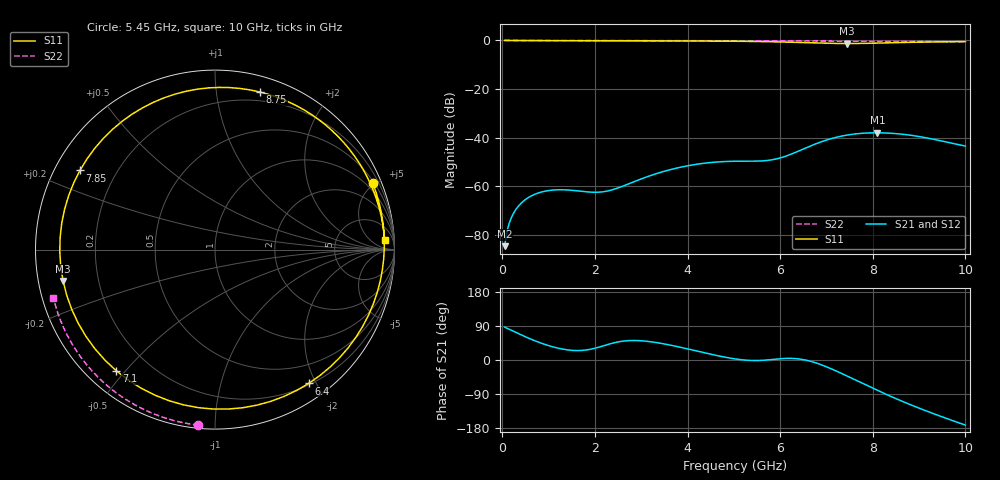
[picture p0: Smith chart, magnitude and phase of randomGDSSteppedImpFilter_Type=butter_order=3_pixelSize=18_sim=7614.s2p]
! freq	dB(S11)	phase(S11)	dB(S12)	phase(S12)
!  dB(S21)	phase(S21)	dB(S22)	phase(S22)
!S-par simulation data
#  GHz  S  DB  R 50
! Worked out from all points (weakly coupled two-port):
!   200 points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, 50 MHz to 10 GHz, reference 50 ohm
!   highest |S21| = -37.94 dB at 8.1 GHz (marker M1); lowest = -84.5 dB at 50 MHz (marker M2)
!   lowest |S11| = -1.3 dB at 7.45 GHz (marker M3), VSWR 13.75, Z = 3.67 - j5.08 ohm
!   |S11| at or under -10 dB: nowhere
!   |S22| runs from -0.5 to 0.0 dB; largest |S21 - S12| = 0
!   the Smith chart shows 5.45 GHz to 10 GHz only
!   S11 on the Smith chart (normalised r, x): 5.45 GHz: 0.60, +4.91; 6.4 GHz: 0.22, -1.90; 7.1 GHz: 0.08, -0.47; 7.85 GHz: 0.07, +0.27; 8.75 GHz: 0.12, +1.32; 10 GHz: 17, +18
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0.05  -0.00 -5.1  -84.52 86.7  -84.52 86.7  -0.00 -1.0
0.2  -0.02 -20.3  -72.61 78.0  -72.61 78.0  -0.00 -3.8
0.35  -0.04 -35.1  -68.03 69.4  -68.03 69.4  -0.01 -6.6
0.8  -0.09 -76.1  -62.52 46.3  -62.52 46.3  -0.02 -15.1
1.2  -0.11 -107.2  -61.35 31.4  -61.35 31.4  -0.03 -22.5
1.75  -0.13 -142.8  -62.06 25.6  -62.06 25.6  -0.04 -32.7
2.5  -0.14 177.2  -60.59 47.7  -60.59 47.7  -0.06 -46.2
3.4  -0.17 134.4  -54.29 44.6  -54.29 44.6  -0.08 -61.9
4.3  -0.23 90.5  -50.59 20.9  -50.59 20.9  -0.11 -77.0
5.05  -0.33 48.6  -49.62 2.5  -49.62 2.5  -0.14 -89.1
5.45  -0.41 22.7  -49.60 -1.4  -49.60 -1.4  -0.15 -95.4
5.95  -0.58 -14.9  -48.52 2.8  -48.52 2.8  -0.18 -103.1
6.4  -0.82 -55.0  -45.42 2.9  -45.42 2.9  -0.20 -110.0
6.7  -1.00 -85.3  -43.00 -4.9  -43.00 -4.9  -0.22 -114.5
7.1  -1.20 -129.2  -40.34 -23.0  -40.34 -23.0  -0.25 -120.4
7.45  -1.27 -168.3  -38.85 -42.6  -38.85 -42.6  -0.28 -125.6
7.85  -1.19 149.6  -38.05 -65.9  -38.05 -65.9  -0.31 -131.5
8.1  -1.09 125.9  -37.94 -80.1  -37.94 -80.1  -0.33 -135.2
8.35  -0.97 104.3  -38.08 -93.9  -38.08 -93.9  -0.36 -138.9
8.75  -0.79 74.1  -38.77 -114.8  -38.77 -114.8  -0.40 -144.7
9.35  -0.59 36.6  -40.74 -143.4  -40.74 -143.4  -0.46 -153.6
10  -0.48 3.4  -43.37 -171.8  -43.37 -171.8  -0.54 -163.4
